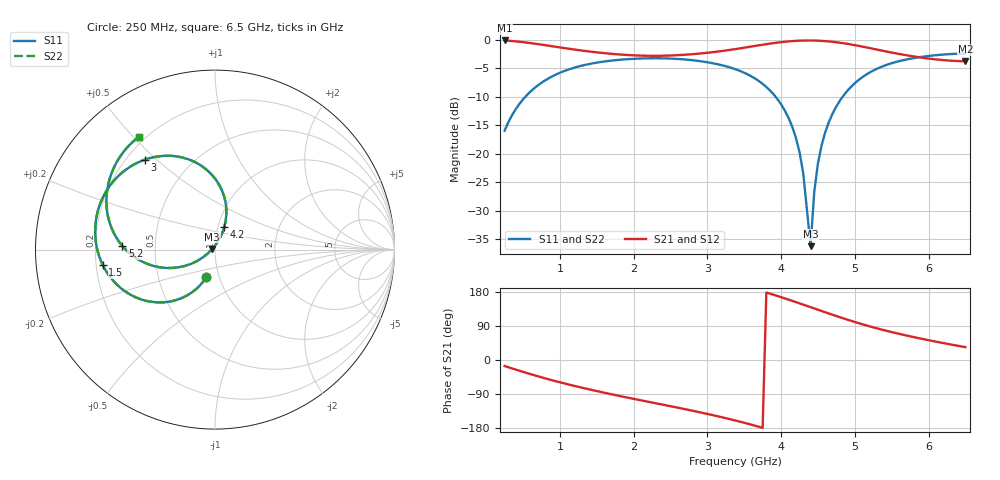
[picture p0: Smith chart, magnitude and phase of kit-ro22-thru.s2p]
! NobuRF kit-ro22-thru: ports 1 "p1", 2 "p2"; 4100 + 4100 steps
# GHz S RI R 50
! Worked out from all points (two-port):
!   126 points, 250 MHz to 6.5 GHz, reference 50 ohm
!   highest |S21| = -0.11 dB at 250 MHz (marker M1); lowest = -3.8 dB at 6.5 GHz (marker M2)
!   |S21| within 3 dB of the highest: start of sweep to 5.902 GHz
!   lowest |S11| = -36.2 dB at 4.4 GHz (marker M3), VSWR 1.03, Z = 48.5 + j0.344 ohm
!   |S11| at or under -10 dB: start of sweep to 530.8 MHz; 3.926 GHz to 4.834 GHz (908.1 MHz wide, 20.7 % of centre)
!   |S22| runs from -36.2 to -2.4 dB; largest |S21 - S12| = 1.9e-08
!   S11 on the Smith chart (normalised r, x): 250 MHz: 0.87, -0.27; 1.5 GHz: 0.23, -0.07; 3 GHz: 0.27, +0.46; 4.2 GHz: 1.07, +0.28; 5.2 GHz: 0.32, +0.02; 6.5 GHz: 0.18, +0.52
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0.25  -0.0475 -0.1525  0.9489 -0.2714  0.9489 -0.2714  -0.0475 -0.1525
0.4  -0.1071 -0.2217  0.8763 -0.4137  0.8763 -0.4137  -0.1071 -0.2217
0.65  -0.2413 -0.2875  0.7092 -0.5965  0.7092 -0.5965  -0.2413 -0.2875
1.3  -0.5684 -0.172  0.2338 -0.7701  0.2338 -0.7701  -0.5684 -0.172
1.5  -0.6246 -0.0873  0.1085 -0.7687  0.1085 -0.7687  -0.6246 -0.0873
1.9  -0.6677 0.0994  -0.1094 -0.7289  -0.1094 -0.7289  -0.6677 0.0994
2.35  -0.6187 0.3025  -0.3186 -0.6507  -0.3186 -0.6507  -0.6187 0.3025
3  -0.3899 0.5016  -0.6095 -0.47  -0.6095 -0.47  -0.3899 0.5016
3.4  -0.1857 0.5139  -0.7856 -0.2768  -0.7856 -0.2768  -0.1857 0.5139
3.9  0.0389 0.3296  -0.9266 0.1295  -0.9266 0.1295  0.0389 0.3296
4.05  0.0627 0.2322  -0.9174 0.2863  -0.9174 0.2863  0.0627 0.2322
4.2  0.0529 0.1287  -0.871 0.4463  -0.871 0.4463  0.0529 0.1287
4.3  0.0264 0.0626  -0.8183 0.5483  -0.8183 0.5483  0.0264 0.0626
4.4  -0.0151 0.00355  -0.7491 0.6417  -0.7491 0.6417  -0.0151 0.00355
4.45  -0.0409 -0.0221  -0.7089 0.684  -0.7089 0.684  -0.0409 -0.0221
4.55  -0.1006 -0.064  -0.6193 0.758  -0.6193 0.758  -0.1006 -0.064
4.7  -0.204 -0.0988  -0.4689 0.8379  -0.4689 0.8379  -0.204 -0.0988
4.9  -0.3464 -0.09  -0.26 0.8838  -0.26 0.8838  -0.3464 -0.09
5.2  -0.5156 0.0196  0.0167 0.8464  0.0167 0.8464  -0.5156 0.0196
5.5  -0.5959 0.1838  0.2172 0.7421  0.2172 0.7421  -0.5959 0.1838
5.95  -0.5782 0.4203  0.4039 0.5617  0.4039 0.5617  -0.5782 0.4203
6.5  -0.4214 0.6297  0.5385 0.3616  0.5385 0.3616  -0.4214 0.6297
